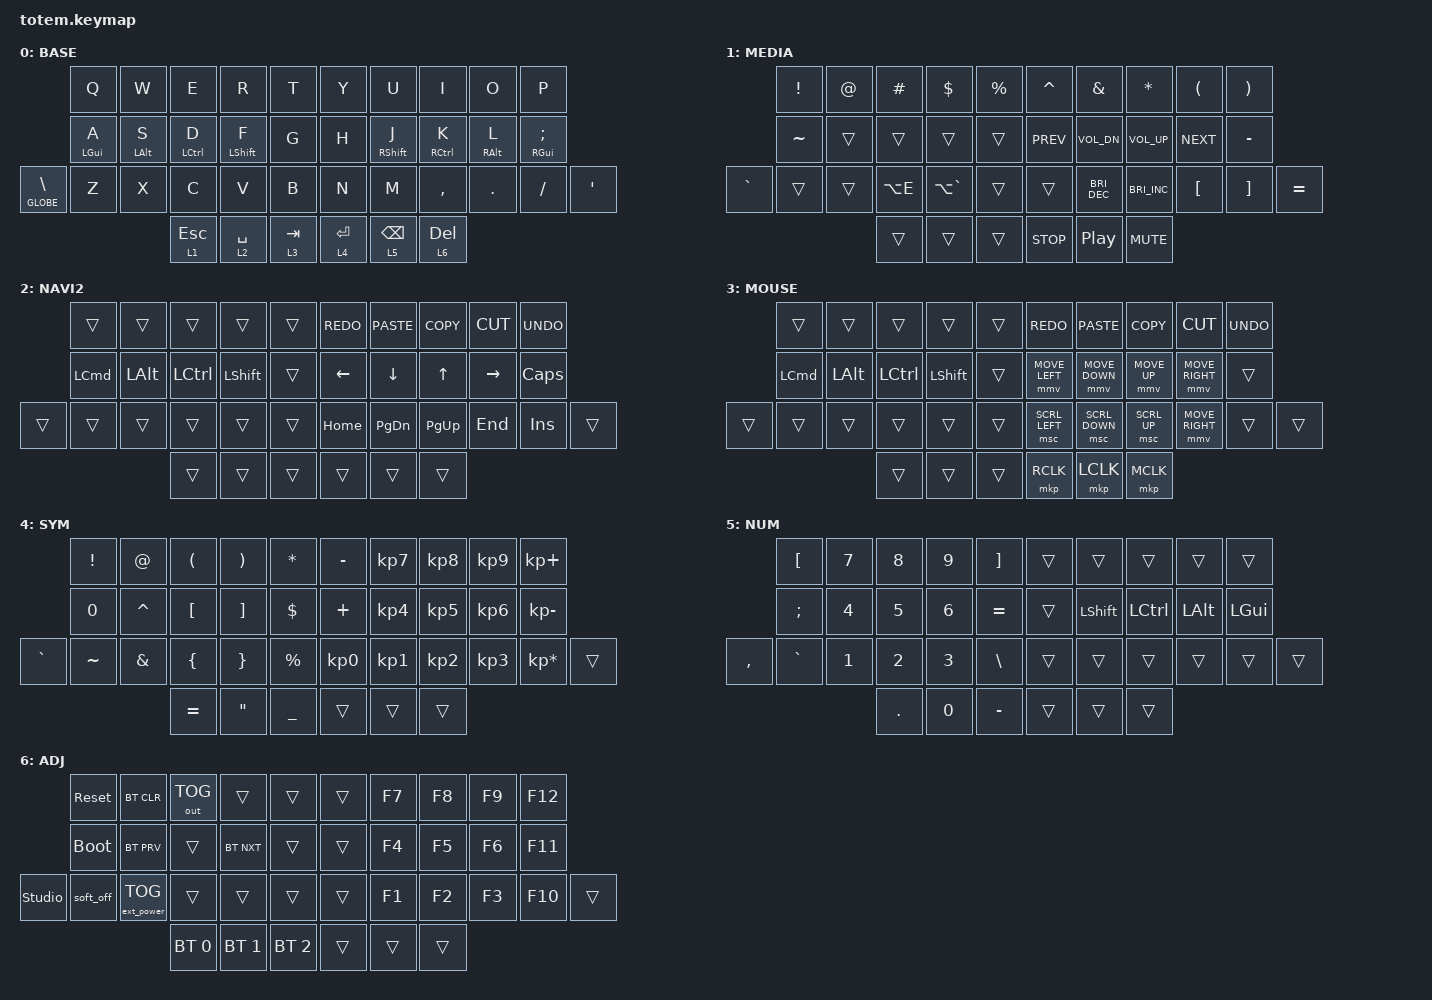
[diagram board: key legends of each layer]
//
//                                                        ▀▀▀▀▀     ▀▀▀▀▀          ▀▀█▀▀
//                                                        ▄▀▀▀▄  ▄  ▄▀▀▀▄  ▄  ▄▀▀▀▄  █  ▄▀▀▀▄
//                                                        █   █  █  █   █  █  █   █  █  █   █
//                                                         ▀▀▀   █   ▀▀▀   █   ▀▀▀   ▀   ▀▀▀
//                                                               █      ▄▄▄█▄▄▄    █   █  
//                                                               ▀      █  █  █     █▄█
//                                                             ▀▀▀▀▀    █  █  █      ▀
//                                                                      ▀  ▀  ▀
//
// ▄▄▄▄▄▄▄▄▄▄▄▄▄▄▄▄▄▄▄▄▄▄▄▄▄▄▄▄▄▄▄▄▄▄▄▄▄▄▄▄▄▄▄▄▄▄▄▄▄▄▄▄▄▄▄▄▄▄▄▄▄▄▄▄▄▄▄▄▄▄▄▄▄▄▄▄▄▄▄▄▄▄▄▄▄▄▄▄▄▄▄▄▄▄▄▄▄▄▄▄▄▄▄▄▄▄▄▄▄▄▄▄▄▄▄▄▄▄▄▄▄▄▄▄▄▄▄▄▄▄▄▄▄▄▄▄▄▄▄▄▄▄▄▄▄▄▄▄▄

#include <behaviors.dtsi>
#include <dt-bindings/zmk/bt.h>
#include <dt-bindings/zmk/ext_power.h>
#include <dt-bindings/zmk/keys.h>
#include <dt-bindings/zmk/outputs.h>
#include <dt-bindings/zmk/pointing.h>

#define BASE 0
#define NAV  1
#define SYM  2
#define ADJ  3
#define TVP1 4
#define TVP2 5

&mt {
    quick-tap-ms = <100>;
    flavor = "tap-preferred";
    tapping-term-ms = <170>;
    require-prior-idle-ms = <100>;
};

/ {
    combos {
        compatible = "zmk,combos";

        combo_esc {
            timeout-ms = <50>;
            key-positions = <0 1>;
            bindings = <&kp ESC>;
        };

        combo_tvp {
            timeout-ms = <100>;
            key-positions = <11 12 13>;
            bindings = <&tog 0>;
        };
    };

    macros {
        gif: gif {
            label = "giphy";
            compatible = "zmk,behavior-macro";
            #binding-cells = <0>;
            bindings =
                <&macro_press>,
                <&kp LSHFT>,
                <&macro_tap>,
                <&kp N2>,
                <&macro_release>,
                <&kp LSHFT>,
                <&macro_tap>,
                <&kp G &kp I &kp F>;
        };
    };

    keymap {
        compatible = "zmk,keymap";

        // ▄▄▄▄▄▄▄▄▄▄▄▄▄▄▄▄▄▄▄▄▄▄▄▄▄▄▄▄▄▄▄▄▄▄▄▄▄▄▄▄▄▄▄▄▄▄▄▄▄▄▄▄▄▄▄▄▄▄▄▄▄▄▄▄▄▄▄▄▄▄▄▄▄▄▄▄▄▄▄▄▄▄▄▄▄▄▄▄▄▄▄▄▄▄▄▄▄▄▄▄▄▄▄▄▄▄▄▄▄▄▄▄▄▄▄▄▄▄▄▄▄▄▄▄▄▄▄▄▄▄▄▄▄▄▄▄▄▄▄▄▄▄▄▄▄▄▄▄▄

        base_layer {
            // ┏━━━━━━━━━━━━━━━━━━━━━━━━━━━━━━━━━━━━━━━┓

            label = "BASE";

            // ┗━━━━━━━━━━━━━━━━━━━━━━━━━━━━━━━━━━━━━━━┛
            //             ┏━━━━━━━━━━━┳━━━━━━━━━━━┳━━━━━━━━━━━┳━━━━━━━━━━━┳━━━━━━━━━━━┓   ┏━━━━━━━━━━━┳━━━━━━━━━━━┳━━━━━━━━━━━┳━━━━━━━━━━━┳━━━━━━━━━━━┓
            //             ┃     Q     ┃     W     ┃     F     ┃     P     ┃     G     ┃   ┃     J     ┃     L     ┃     U     ┃     Y     ┃     ;     ┃
            //             ┣━━━━━━━━━━━╋━━━━━━━━━━━╋━━━━━━━━━━━╋━━━━━━━━━━━╋━━━━━━━━━━━┫   ┣━━━━━━━━━━━╋━━━━━━━━━━━╋━━━━━━━━━━━╋━━━━━━━━━━━╋━━━━━━━━━━━┫
            //             ┃     A     ┃     R     ┃     S     ┃     T     ┃     D     ┃   ┃     H     ┃     N     ┃     E     ┃     I     ┃     O     ┃
            // ┏━━━━━━━━━━━╋━━━━━━━━━━━╋━━━━━━━━━━━╋━━━━━━━━━━━╋━━━━━━━━━━━╋━━━━━━━━━━━┫   ┣━━━━━━━━━━━╋━━━━━━━━━━━╋━━━━━━━━━━━╋━━━━━━━━━━━╋━━━━━━━━━━━╋━━━━━━━━━━━┓
            // ┃     Q     ┃     Z     ┃     X     ┃     C     ┃     V     ┃     B     ┃   ┃     K     ┃     M     ┃     ,     ┃     .     ┃     /     ┃     \     ┃
            // ┗━━━━━━━━━━━┻━━━━━━━━━━━┻━━━━━━━━━━━╋━━━━━━━━━━━╋━━━━━━━━━━━╋━━━━━━━━━━━┫   ┣━━━━━━━━━━━╋━━━━━━━━━━━╋━━━━━━━━━━━╋━━━━━━━━━━━┻━━━━━━━━━━━┻━━━━━━━━━━━┛
            //                                     ┃    DEL    ┃    TAB    ┃    SPC    ┃   ┃   ENTER   ┃           ┃   BSPC    ┃
            //                                     ┗━━━━━━━━━━━┻━━━━━━━━━━━┻━━━━━━━━━━━┛   ┗━━━━━━━━━━━┻━━━━━━━━━━━┻━━━━━━━━━━━┛

            bindings = <
                     &kp Q       &kp W       &kp E        &kp R        &kp T        &kp Y        &kp U            &kp I        &kp O       &kp P
                     &mt LGUI A  &mt LALT S  &mt LCTRL D  &mt LSHFT F  &kp G        &kp H        &mt RSHFT J      &mt RCTRL K  &mt RALT L  &mt RGUI SEMI
&mt GLOBE BACKSLASH  &kp Z       &kp X       &kp C        &kp V        &kp B        &kp N        &kp M            &kp COMMA    &kp DOT     &kp FSLH       &kp SQT
                                             &lt 1 ESC    &lt 2 SPACE  &lt 3 TAB    &lt 4 ENTER  &lt 5 BACKSPACE  &lt 6 DEL
            >;
        };

        media_sym {
            // ┏━━━━━━━━━━━━━━━━━━━━━━━━━━━━━━━━━━━━━━━┓

            label = "MEDIA";

            // ┗━━━━━━━━━━━━━━━━━━━━━━━━━━━━━━━━━━━━━━━┛
            //             ┏━━━━━━━━━━━┳━━━━━━━━━━━┳━━━━━━━━━━━┳━━━━━━━━━━━┳━━━━━━━━━━━┓   ┏━━━━━━━━━━━┳━━━━━━━━━━━┳━━━━━━━━━━━┳━━━━━━━━━━━┳━━━━━━━━━━━┓
            //             ┃     !     ┃     @     ┃     #     ┃     $     ┃     %     ┃   ┃     ˆ     ┃     &     ┃     Ü     ┃     '     ┃     "     ┃
            //             ┣━━━━━━━━━━━╋━━━━━━━━━━━╋━━━━━━━━━━━╋━━━━━━━━━━━╋━━━━━━━━━━━┫   ┣━━━━━━━━━━━╋━━━━━━━━━━━╋━━━━━━━━━━━╋━━━━━━━━━━━╋━━━━━━━━━━━┫
            //             ┃     Ä     ┃           ┃    SZ     ┃           ┃           ┃   ┃   MUTE    ┃   YEN     ┃   EURO    ┃  POUND    ┃     Ö     ┃
            // ┏━━━━━━━━━━━╋━━━━━━━━━━━╋━━━━━━━━━━━╋━━━━━━━━━━━╋━━━━━━━━━━━╋━━━━━━━━━━━┫   ┣━━━━━━━━━━━╋━━━━━━━━━━━╋━━━━━━━━━━━╋━━━━━━━━━━━╋━━━━━━━━━━━╋━━━━━━━━━━━┓
            // ┃           ┃  EMAIL1   ┃  EMAIL2   ┃           ┃           ┃           ┃   ┃   VOL-    ┃   VOL+    ┃   LAST    ┃   NEXT    ┃     \     ┃           ┃
            // ┗━━━━━━━━━━━┻━━━━━━━━━━━┻━━━━━━━━━━━╋━━━━━━━━━━━╋━━━━━━━━━━━╋━━━━━━━━━━━┫   ┣━━━━━━━━━━━╋━━━━━━━━━━━╋━━━━━━━━━━━╋━━━━━━━━━━━┻━━━━━━━━━━━┻━━━━━━━━━━━┛
            //                                     ┃           ┃    GIF    ┃    ADJ    ┃   ┃           ┃           ┃           ┃
            //                                     ┗━━━━━━━━━━━┻━━━━━━━━━━━┻━━━━━━━━━━━┛   ┗━━━━━━━━━━━┻━━━━━━━━━━━┻━━━━━━━━━━━┛

            bindings = <
           &kp EXCL   &kp AT  &kp HASH   &kp DLLR       &kp PRCNT    &kp CARET   &kp AMPS              &kp ASTRK             &kp LPAR    &kp RPAR
           &kp TILDE  &trans  &trans     &trans         &trans       &kp C_PREV  &kp C_VOL_DN          &kp C_VOLUME_UP       &kp C_NEXT  &kp MINUS
&kp GRAVE  &trans     &trans  &kp LA(E)  &kp LA(GRAVE)  &trans       &trans      &kp C_BRIGHTNESS_DEC  &kp C_BRIGHTNESS_INC  &kp LBKT    &kp RBKT   &kp EQUAL
                              &trans     &trans         &trans       &kp C_STOP  &kp C_PP              &kp C_MUTE
            >;
        };

        navigation {
            label = "NAVI2";
            bindings = <
        &trans            &trans        &trans            &trans          &trans    &kp K_REDO      &kp K_PASTE    &kp K_COPY   &kp K_CUT  &kp K_UNDO
        &kp LEFT_COMMAND  &kp LEFT_ALT  &kp LEFT_CONTROL  &kp LEFT_SHIFT  &trans    &kp LEFT_ARROW  &kp DOWN       &kp UP       &kp RIGHT  &kp CAPSLOCK
&trans  &trans            &trans        &trans            &trans          &trans    &kp HOME        &kp PAGE_DOWN  &kp PAGE_UP  &kp END    &kp INS       &trans
                                        &trans            &trans          &trans    &trans          &trans         &trans
            >;
        };

        mouse_layer {
            label = "MOUSE";
            bindings = <
        &trans            &trans        &trans            &trans          &trans    &kp K_REDO      &kp K_PASTE     &kp K_COPY    &kp K_CUT        &kp K_UNDO
        &kp LEFT_COMMAND  &kp LEFT_ALT  &kp LEFT_CONTROL  &kp LEFT_SHIFT  &trans    &mmv MOVE_LEFT  &mmv MOVE_DOWN  &mmv MOVE_UP  &mmv MOVE_RIGHT  &trans
&trans  &trans            &trans        &trans            &trans          &trans    &msc SCRL_LEFT  &msc SCRL_DOWN  &msc SCRL_UP  &mmv MOVE_RIGHT  &trans      &trans
                                        &trans            &trans          &trans    &mkp RCLK       &mkp LCLK       &mkp MCLK
            >;
        };

        sym_layer {
            // ┏━━━━━━━━━━━━━━━━━━━━━━━━━━━━━━━━━━━━━━━┓

            label = "SYM";

            // ┗━━━━━━━━━━━━━━━━━━━━━━━━━━━━━━━━━━━━━━━┛
            //             ┏━━━━━━━━━━━┳━━━━━━━━━━━┳━━━━━━━━━━━┳━━━━━━━━━━━┳━━━━━━━━━━━┓   ┏━━━━━━━━━━━┳━━━━━━━━━━━┳━━━━━━━━━━━┳━━━━━━━━━━━┳━━━━━━━━━━━┓
            //             ┃           ┃           ┃     UP    ┃           ┃     {     ┃   ┃     }     ┃     7     ┃     8     ┃     9     ┃     +     ┃
            //             ┣━━━━━━━━━━━╋━━━━━━━━━━━╋━━━━━━━━━━━╋━━━━━━━━━━━╋━━━━━━━━━━━┫   ┣━━━━━━━━━━━╋━━━━━━━━━━━╋━━━━━━━━━━━╋━━━━━━━━━━━╋━━━━━━━━━━━┫
            //             ┃   SHIFT   ┃   LEFT    ┃    DOWN   ┃   RIGHT   ┃     [     ┃   ┃     ]     ┃     4     ┃     5     ┃     6     ┃     -     ┃
            // ┏━━━━━━━━━━━╋━━━━━━━━━━━╋━━━━━━━━━━━╋━━━━━━━━━━━╋━━━━━━━━━━━╋━━━━━━━━━━━┫   ┣━━━━━━━━━━━╋━━━━━━━━━━━╋━━━━━━━━━━━╋━━━━━━━━━━━╋━━━━━━━━━━━╋━━━━━━━━━━━┓
            // ┃           ┃           ┃   P UP    ┃  C LOCK   ┃  P DOWN   ┃     (     ┃   ┃     )     ┃     1     ┃     2     ┃     3     ┃     *     ┃           ┃
            // ┗━━━━━━━━━━━┻━━━━━━━━━━━┻━━━━━━━━━━━╋━━━━━━━━━━━╋━━━━━━━━━━━╋━━━━━━━━━━━┫   ┣━━━━━━━━━━━╋━━━━━━━━━━━╋━━━━━━━━━━━╋━━━━━━━━━━━┻━━━━━━━━━━━┻━━━━━━━━━━━┛
            //                                     ┃           ┃    TAB    ┃    SPC    ┃   ┃    DEL    ┃     0     ┃           ┃
            //                                     ┗━━━━━━━━━━━┻━━━━━━━━━━━┻━━━━━━━━━━━┛   ┗━━━━━━━━━━━┻━━━━━━━━━━━┻━━━━━━━━━━━┛

            bindings = <
           &kp EXCL   &kp AT     &kp LPAR   &kp RPAR  &kp ASTRK    &kp MINUS  &kp KP_N7  &kp KP_N8  &kp KP_N9  &kp KP_PLUS
           &kp N0     &kp CARET  &kp LBKT   &kp RBKT  &kp DLLR     &kp PLUS   &kp KP_N4  &kp KP_N5  &kp KP_N6  &kp KP_MINUS
&kp GRAVE  &kp TILDE  &kp AMPS   &kp LBRC   &kp RBRC  &kp PRCNT    &kp KP_N0  &kp KP_N1  &kp KP_N2  &kp KP_N3  &kp KP_MULTIPLY  &trans
                                 &kp EQUAL  &kp DQT   &kp UNDER    &trans     &trans     &trans
            >;
        };

        num_layer {
            bindings = <
           &kp LBKT   &kp N7  &kp N8   &kp N9  &kp RBKT     &trans  &trans     &trans     &trans    &trans
           &kp SEMI   &kp N4  &kp N5   &kp N6  &kp EQUAL    &trans  &kp LSHFT  &kp LCTRL  &kp LALT  &kp LGUI
&kp COMMA  &kp GRAVE  &kp N1  &kp N2   &kp N3  &kp BSLH     &trans  &trans     &trans     &trans    &trans    &trans
                              &kp DOT  &kp N0  &kp MINUS    &trans  &trans     &trans
            >;

            label = "NUM";
        };

        adjust_layer {
            // ┏━━━━━━━━━━━━━━━━━━━━━━━━━━━━━━━━━━━━━━━┓

            label = "ADJ";

            // ┗━━━━━━━━━━━━━━━━━━━━━━━━━━━━━━━━━━━━━━━┛
            //             ┏━━━━━━━━━━━┳━━━━━━━━━━━┳━━━━━━━━━━━┳━━━━━━━━━━━┳━━━━━━━━━━━┓   ┏━━━━━━━━━━━┳━━━━━━━━━━━┳━━━━━━━━━━━┳━━━━━━━━━━━┳━━━━━━━━━━━┓
            //             ┃   RESET   ┃ BT CLEAR  ┃  OUT TOG  ┃           ┃           ┃   ┃           ┃    F7     ┃    F8     ┃    F9     ┃    F12    ┃
            //             ┣━━━━━━━━━━━╋━━━━━━━━━━━╋━━━━━━━━━━━╋━━━━━━━━━━━╋━━━━━━━━━━━┫   ┣━━━━━━━━━━━╋━━━━━━━━━━━╋━━━━━━━━━━━╋━━━━━━━━━━━╋━━━━━━━━━━━┫
            //             ┃ BOOTLOAD  ┃ BT NEXT   ┃           ┃           ┃           ┃   ┃           ┃    F4     ┃    F5     ┃    F6     ┃    F11    ┃
            // ┏━━━━━━━━━━━╋━━━━━━━━━━━╋━━━━━━━━━━━╋━━━━━━━━━━━╋━━━━━━━━━━━╋━━━━━━━━━━━┫   ┣━━━━━━━━━━━╋━━━━━━━━━━━╋━━━━━━━━━━━╋━━━━━━━━━━━╋━━━━━━━━━━━╋━━━━━━━━━━━┓
            // ┃           ┃           ┃ BT PREV   ┃           ┃           ┃           ┃   ┃           ┃    F1     ┃    F2     ┃    F3     ┃    F10    ┃           ┃
            // ┗━━━━━━━━━━━┻━━━━━━━━━━━┻━━━━━━━━━━━╋━━━━━━━━━━━╋━━━━━━━━━━━╋━━━━━━━━━━━┫   ┣━━━━━━━━━━━╋━━━━━━━━━━━╋━━━━━━━━━━━╋━━━━━━━━━━━┻━━━━━━━━━━━┻━━━━━━━━━━━┛
            //                                     ┃           ┃           ┃           ┃   ┃           ┃           ┃           ┃
            //                                     ┗━━━━━━━━━━━┻━━━━━━━━━━━┻━━━━━━━━━━━┛   ┗━━━━━━━━━━━┻━━━━━━━━━━━┻━━━━━━━━━━━┛

            bindings = <
                &sys_reset   &bt BT_CLR         &out OUT_TOG  &trans        &trans          &trans  &kp F7  &kp F8  &kp F9  &kp F12
                &bootloader  &bt BT_PRV         &trans        &bt BT_NXT    &trans          &trans  &kp F4  &kp F5  &kp F6  &kp F11
&studio_unlock  &soft_off    &ext_power EP_TOG  &trans        &trans        &trans          &trans  &kp F1  &kp F2  &kp F3  &kp F10  &trans
                                                &bt BT_SEL 0  &bt BT_SEL 1  &bt BT_SEL 2    &trans  &trans  &trans
            >;
        };
    };
};
